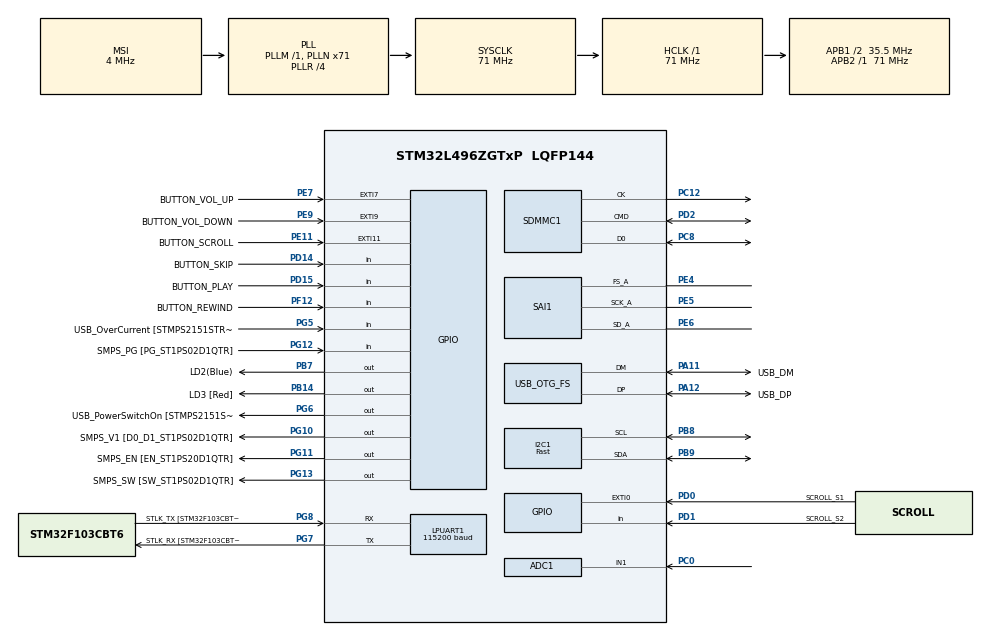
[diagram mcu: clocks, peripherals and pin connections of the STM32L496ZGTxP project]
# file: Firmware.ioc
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ADC1.Channel-0\#ChannelRegularConversion=ADC_CHANNEL_1
ADC1.NbrOfConversionFlag=1
ADC1.OffsetNumber-0\#ChannelRegularConversion=ADC_OFFSET_NONE
ADC1.Rank-0\#ChannelRegularConversion=1
ADC1.SamplingTime-0\#ChannelRegularConversion=ADC_SAMPLETIME_2CYCLES_5
ADC1.master=1
Dma.ADC1.3.Direction=DMA_PERIPH_TO_MEMORY
Dma.ADC1.3.Instance=DMA1_Channel1
Dma.ADC1.3.MemDataAlignment=DMA_MDATAALIGN_HALFWORD
Dma.ADC1.3.MemInc=DMA_MINC_ENABLE
Dma.ADC1.3.Mode=DMA_CIRCULAR
Dma.ADC1.3.PeriphDataAlignment=DMA_PDATAALIGN_HALFWORD
Dma.ADC1.3.PeriphInc=DMA_PINC_DISABLE
Dma.ADC1.3.Priority=DMA_PRIORITY_LOW
Dma.Request0=SDMMC1_RX
Dma.Request1=SDMMC1_TX
Dma.Request2=SAI1_A
Dma.Request3=ADC1
Dma.SAI1_A.2.Direction=DMA_MEMORY_TO_PERIPH
Dma.SAI1_A.2.Instance=DMA2_Channel1
Dma.SAI1_A.2.MemDataAlignment=DMA_MDATAALIGN_HALFWORD
Dma.SAI1_A.2.MemInc=DMA_MINC_ENABLE
Dma.SAI1_A.2.Mode=DMA_CIRCULAR
Dma.SAI1_A.2.PeriphDataAlignment=DMA_PDATAALIGN_HALFWORD
Dma.SAI1_A.2.PeriphInc=DMA_PINC_DISABLE
Dma.SAI1_A.2.Priority=DMA_PRIORITY_LOW
Dma.SDMMC1_RX.0.Direction=DMA_PERIPH_TO_MEMORY
Dma.SDMMC1_RX.0.Instance=DMA2_Channel4
Dma.SDMMC1_RX.0.MemDataAlignment=DMA_MDATAALIGN_WORD
Dma.SDMMC1_RX.0.MemInc=DMA_MINC_ENABLE
Dma.SDMMC1_RX.0.Mode=DMA_NORMAL
Dma.SDMMC1_RX.0.PeriphDataAlignment=DMA_PDATAALIGN_WORD
Dma.SDMMC1_RX.0.PeriphInc=DMA_PINC_DISABLE
Dma.SDMMC1_RX.0.Priority=DMA_PRIORITY_LOW
Dma.SDMMC1_TX.1.Direction=DMA_MEMORY_TO_PERIPH
Dma.SDMMC1_TX.1.Instance=DMA2_Channel5
Dma.SDMMC1_TX.1.MemDataAlignment=DMA_MDATAALIGN_WORD
Dma.SDMMC1_TX.1.MemInc=DMA_MINC_ENABLE
Dma.SDMMC1_TX.1.Mode=DMA_NORMAL
Dma.SDMMC1_TX.1.PeriphDataAlignment=DMA_PDATAALIGN_WORD
Dma.SDMMC1_TX.1.PeriphInc=DMA_PINC_DISABLE
Dma.SDMMC1_TX.1.Priority=DMA_PRIORITY_LOW
FREERTOS.Tasks01=defaultTask,24,128,StartDefaultTask,Default,NULL,Dynamic,NULL,NULL
I2C1.I2C_Speed_Mode=I2C_Fast
I2C1.Timing=0x00701137
LPUART1.BaudRate=115200
Mcu.Family=STM32L4
Mcu.Name=STM32L496ZGTxP
Mcu.Package=LQFP144
NVIC.ADC1_2_IRQn=true\:5\:0\:true\:false\:true\:true\:true\:true\:true
NVIC.DMA1_Channel1_IRQn=true\:5\:0\:false\:false\:true\:true\:false\:true\:true
NVIC.DMA2_Channel1_IRQn=true\:5\:0\:false\:false\:true\:true\:false\:true\:true
NVIC.DMA2_Channel4_IRQn=true\:5\:0\:false\:false\:true\:true\:false\:true\:true
NVIC.DMA2_Channel5_IRQn=true\:5\:0\:false\:false\:true\:true\:false\:true\:true
NVIC.EXTI0_IRQn=true\:5\:0\:true\:false\:true\:true\:true\:true\:true
NVIC.EXTI15_10_IRQn=true\:5\:0\:false\:false\:true\:true\:true\:true\:true
NVIC.EXTI9_5_IRQn=true\:5\:0\:true\:false\:true\:true\:true\:true\:true
NVIC.OTG_FS_IRQn=true\:5\:0\:false\:false\:true\:true\:true\:true\:true
NVIC.PriorityGroup=NVIC_PRIORITYGROUP_4
NVIC.SDMMC1_IRQn=true\:2\:0\:true\:false\:true\:true\:true\:true\:true
NVIC.TIM1_UP_TIM16_IRQn=true\:5\:0\:false\:false\:true\:true\:true\:true\:true
NVIC.TIM2_IRQn=true\:5\:0\:true\:false\:true\:true\:true\:true\:true
PA10.GPIO_Label=USB_ID
PA10.Signal=USB_OTG_FS_ID
PA11.GPIO_Label=USB_DM
PA11.Mode=Host_Only
PA11.Signal=USB_OTG_FS_DM
PA12.GPIO_Label=USB_DP
PA12.Mode=Host_Only
PA12.Signal=USB_OTG_FS_DP
PA13\ (JTMS/SWDIO).GPIO_Label=TMS
PA13\ (JTMS/SWDIO).Mode=Trace_Asynchronous_SW
PA13\ (JTMS/SWDIO).Signal=SYS_JTMS-SWDIO
PA14\ (JTCK/SWCLK).GPIO_Label=TCK
PA14\ (JTCK/SWCLK).Mode=Trace_Asynchronous_SW
PA14\ (JTCK/SWCLK).Signal=SYS_JTCK-SWCLK
PA8.GPIO_Label=USB_SOF [TP1]
PA8.Signal=USB_OTG_FS_SOF
PA9.GPIO_Label=USB_VBUS
PA9.Signal=USB_OTG_FS_VBUS
PB14.GPIO_Label=LD3 [Red]
PB14.Signal=GPIO_Output
PB3\ (JTDO/TRACESWO).GPIO_Label=SWO
PB3\ (JTDO/TRACESWO).Mode=Trace_Asynchronous_SW
PB3\ (JTDO/TRACESWO).Signal=SYS_JTDO-SWO
PB7.GPIO_Label=LD2(Blue)
PB7.Signal=GPIO_Output
PB8.Mode=I2C
PB8.Signal=I2C1_SCL
PB9.Mode=I2C
PB9.Signal=I2C1_SDA
PC0.Signal=ADCx_IN1
PC12.Mode=SD_1_bit
PC12.Signal=SDMMC1_CK
PC14-OSC32_IN\ (PC14).Mode=LSE-External-Oscillator
PC14-OSC32_IN\ (PC14).Signal=RCC_OSC32_IN
PC15-OSC32_OUT\ (PC15).Mode=LSE-External-Oscillator
PC15-OSC32_OUT\ (PC15).Signal=RCC_OSC32_OUT
PC8.Mode=SD_1_bit
PC8.Signal=SDMMC1_D0
PD0.GPIO_Label=SCROLL_S1
PD0.GPIO_ModeDefaultEXTI=GPIO_MODE_IT_RISING
PD0.Signal=GPXTI0
PD1.GPIO_Label=SCROLL_S2
PD1.GPIO_PuPd=GPIO_PULLUP
PD1.Signal=GPIO_Input
PD14.GPIO_Label=BUTTON_SKIP
PD14.GPIO_PuPd=GPIO_PULLDOWN
PD14.Signal=GPIO_Input
PD15.GPIO_Label=BUTTON_PLAY
PD15.GPIO_PuPd=GPIO_PULLDOWN
PD15.Signal=GPIO_Input
PD2.Mode=SD_1_bit
PD2.Signal=SDMMC1_CMD
PE11.GPIO_Label=BUTTON_SCROLL
PE11.GPIO_ModeDefaultEXTI=GPIO_MODE_IT_RISING_FALLING
PE11.GPIO_PuPd=GPIO_PULLDOWN
PE11.Signal=GPXTI11
PE4.Mode=SAI_A_Master
PE4.Signal=SAI1_FS_A
PE5.Mode=SAI_A_Master
PE5.Signal=SAI1_SCK_A
PE6.Mode=SAI_A_Master
PE6.Signal=SAI1_SD_A
PE7.GPIO_Label=BUTTON_VOL_UP
PE7.GPIO_PuPd=GPIO_PULLDOWN
PE7.Signal=GPXTI7
PE9.GPIO_Label=BUTTON_VOL_DOWN
PE9.GPIO_PuPd=GPIO_PULLDOWN
PE9.Signal=GPXTI9
PF12.GPIO_Label=BUTTON_REWIND
PF12.GPIO_PuPd=GPIO_PULLDOWN
PF12.Signal=GPIO_Input
PG10.GPIO_Label=SMPS_V1 [D0_D1_ST1PS02D1QTR]
PG10.Signal=GPIO_Output
PG11.GPIO_Label=SMPS_EN [EN_ST1PS20D1QTR]
PG11.Signal=GPIO_Output
PG12.GPIO_Label=SMPS_PG [PG_ST1PS02D1QTR]
PG12.Signal=GPIO_Input
PG13.GPIO_Label=SMPS_SW [SW_ST1PS02D1QTR]
PG13.Signal=GPIO_Output
PG5.GPIO_Label=USB_OverCurrent [STMPS2151STR_FAULT]
PG5.Signal=GPIO_Input
PG6.GPIO_Label=USB_PowerSwitchOn [STMPS2151STR_EN]
PG6.Signal=GPIO_Output
PG7.GPIO_Label=STLK_RX [STM32F103CBT6_PA3]
PG7.Mode=Asynchronous
PG7.Signal=LPUART1_TX
PG8.GPIO_Label=STLK_TX [STM32F103CBT6_PA2]
PG8.Mode=Asynchronous
PG8.Signal=LPUART1_RX
PH0-OSC_IN\ (PH0).GPIO_Label=MCO
PH0-OSC_IN\ (PH0).Signal=RCC_OSC_IN
PH1-OSC_OUT\ (PH1).Signal=RCC_OSC_OUT
ProjectManager.HeapSize=0x200
ProjectManager.StackSize=0x400
ProjectManager.TargetToolchain=CMake
RCC.48MHZClocksFreq_Value=24000000
RCC.ADCFreq_Value=48000000
RCC.AHBFreq_Value=71000000
RCC.APB1CLKDivider=RCC_HCLK_DIV2
RCC.APB1Freq_Value=35500000
RCC.APB1TimFreq_Value=71000000
RCC.APB2Freq_Value=71000000
RCC.APB2TimFreq_Value=71000000
RCC.CortexFreq_Value=71000000
RCC.HCLKFreq_Value=71000000
RCC.HSE_VALUE=8000000
RCC.HSI48_VALUE=48000000
RCC.HSI_VALUE=16000000
RCC.MSI_VALUE=4000000
RCC.PLLMUL=RCC_PLL_MUL9
RCC.PLLN=71
RCC.PLLR=RCC_PLLR_DIV4
RCC.PLLSAI1N=24
RCC.PLLSAI2N=48
RCC.PLLSAI2P=RCC_PLLP_DIV17
RCC.PRESCALERUSB=RCC_USBCLKSOURCE_PLL_DIV1_5
RCC.SAI1CLockSelection=RCC_SAI1CLKSOURCE_PLLSAI2
RCC.SYSCLKFreq_VALUE=71000000
RCC.SYSCLKSource=RCC_SYSCLKSOURCE_PLLCLK
RCC.SYSCLKSourceVirtual=RCC_SYSCLKSOURCE_PLLCLK
RCC.USBFreq_Value=48000000
RCC.VCOOutputFreq_Value=284000000
SAI1.AudioFrequency-SAI_A_Master=SAI_AUDIO_FREQUENCY_44K
SAI1.BasicProtocol-SAI_A_Master=SAI_I2S_STANDARD
SAI1.ErrorAudioFreq-SAI_A_Master=0.03 %
SAI1.InitProtocol-SAI_A_Master=Enable
SAI1.Instance-SAI_A_Master=SAI$Index_Block_A
SAI1.MClockEnable-SAI_A_Master=SAI_MASTERCLOCK_DISABLE
SAI1.RealAudioFreq-SAI_A_Master=44.117 KHz
SAI1.VirtualMode-SAI_A_Master=VM_MASTER
SAI1.VirtualProtocol-SAI_A_BASIC=VM_BASIC_PROTOCOL
SDMMC1.ClockDiv=16
SH.ADCx_IN1.0=ADC1_IN1,IN1-Single-Ended
TIM1.Period=65535
TIM1.Prescaler=14199
TIM2.Period=999
TIM2.Prescaler=14200
USB_HOST.BSP.number=1
USB_HOST.USBH_HandleTypeDef=hUsbHostFS
USB_HOST.VirtualModeFS=Audio
USB_HOST0.BSP.STBoard=false
USB_HOST0.BSP.api=UnknownBspDriver
USB_HOST0.BSP.instance=PG6
USB_HOST0.BSP.ip=GPIO
USB_HOST0.BSP.mode=Output
USB_HOST0.BSP.name=Drive_VBUS_FS
USB_HOST0.BSP.solution=PG6
USB_OTG_FS.VirtualMode=Host_Only
USB_OTG_FS.phy_itface=HCD_PHY_EMBEDDED
VP_CRC_VS_CRC.Mode=CRC_Activate
VP_FATFS_VS_SDIO.Mode=SDIO
VP_FREERTOS_VS_CMSIS_V2.Mode=CMSIS_V2
VP_SAI1_VP_$IpInstance_SAIA_SAI_BASIC.Mode=SAI_A_BASIC
VP_TIM1_VS_ClockSourceINT.Mode=Internal
VP_TIM2_VS_ClockSourceINT.Mode=Internal
VP_USB_HOST_VS_USB_HOST_AUDIO_FS.Mode=AUDIO_FS
board=NUCLEO-L496ZG-P

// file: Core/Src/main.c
/* USER CODE BEGIN Header */
/**
  ******************************************************************************
  * @file           : main.c
  * @brief          : Main program body
  ******************************************************************************
  * @attention
  *
  * Copyright (c) 2026 STMicroelectronics.
  * All rights reserved.
  *
  * This software is licensed under terms that can be found in the LICENSE file
  * in the root directory of this software component.
  * If no LICENSE file comes with this software, it is provided AS-IS.
  *
  ******************************************************************************
  */
/* USER CODE END Header */
#include "main.h"
#include "cmsis_os.h"
#include "fatfs.h"
#include "usb_host.h"

/* USER CODE BEGIN Includes */
#include "ssd1306.h"
#include "ssd1306_tests.h"
#include "ssd1306_fonts.h"
#include "display.h"
#include "audio_control.h"
#include "input.h"
#include "ff.h"
#include "music_player.h"

#include <stdint.h>
#include <stdio.h>
#include <string.h>
#include <stdbool.h>
/* USER CODE END Includes */

ADC_HandleTypeDef hadc1;
DMA_HandleTypeDef hdma_adc1;

CRC_HandleTypeDef hcrc;

I2C_HandleTypeDef hi2c1;

UART_HandleTypeDef hlpuart1;

SAI_HandleTypeDef hsai_BlockA1;
DMA_HandleTypeDef hdma_sai1_a;

SD_HandleTypeDef hsd1;
DMA_HandleTypeDef hdma_sdmmc1_rx;
DMA_HandleTypeDef hdma_sdmmc1_tx;

TIM_HandleTypeDef htim1;
TIM_HandleTypeDef htim2;

/* Definitions for defaultTask */
osThreadId_t defaultTaskHandle;
const osThreadAttr_t defaultTask_attributes = {
  .name = "defaultTask",
  .stack_size = 128 * 4,
  .priority = (osPriority_t) osPriorityNormal,
};
/* USER CODE BEGIN PV */
/*
  _____  _____  _______      __       _______ ______   __      __     _____  _____          ____  _      ______  _____
 |  __ \|  __ \|_   _\ \    / /   /\ |__   __|  ____|  \ \    / /\   |  __ \|_   _|   /\   |  _ \| |    |  ____|/ ____|
 | |__) | |__) | | |  \ \  / /   /  \   | |  | |__      \ \  / /  \  | |__) | | |    /  \  | |_) | |    | |__  | (___
 |  ___/|  _  /  | |   \ \/ /   / /\ \  | |  |  __|      \ \/ / /\ \ |  _  /  | |   / /\ \ |  _ <| |    |  __|  \___ \
 | |    | | \ \ _| |_   \  /   / ____ \ | |  | |____      \  / ____ \| | \ \ _| |_ / ____ \| |_) | |____| |____ ____) |
 |_|    |_|  \_\_____|   \/   /_/    \_\|_|  |______|      \/_/    \_\_|  \_\_____/_/    \_\____/|______|______|_____/

*/

// PV goes here #todo

/* USER CODE END PV */

void SystemClock_Config(void);
void PeriphCommonClock_Config(void);
static void MX_GPIO_Init(void);
static void MX_DMA_Init(void);
static void MX_LPUART1_UART_Init(void);
static void MX_TIM1_Init(void);
static void MX_I2C1_Init(void);
static void MX_SDMMC1_SD_Init(void);
static void MX_SAI1_Init(void);
static void MX_ADC1_Init(void);
static void MX_CRC_Init(void);
static void MX_TIM2_Init(void);
void StartDefaultTask(void *argument);

/* USER CODE BEGIN PFP */
static void AlarmInit(void);
static void DisplayInit(void);
static void AudioInit(void);
static void GuiInit(void);
/* USER CODE END PFP */

/* USER CODE BEGIN 0 */
/*
  _____  _____  _______      __       _______ ______   _    _  _____ ______ _____     _____  ____  _____  ______
 |  __ \|  __ \|_   _\ \    / /   /\ |__   __|  ____| | |  | |/ ____|  ____|  __ \   / ____|/ __ \|  __ \|  ____|
 | |__) | |__) | | |  \ \  / /   /  \   | |  | |__    | |  | | (___ | |__  | |__) | | |    | |  | | |  | | |__
 |  ___/|  _  /  | |   \ \/ /   / /\ \  | |  |  __|   | |  | |\___ \|  __| |  _  /  | |    | |  | | |  | |  __|
 | |    | | \ \ _| |_   \  /   / ____ \ | |  | |____  | |__| |____) | |____| | \ \  | |____| |__| | |__| | |____
 |_|    |_|  \_\_____|   \/   /_/    \_\|_|  |______|  \____/|_____/|______|_|  \_\  \_____|\____/|_____/|______|

*/

static void AlarmInit(void) {
}

static void DisplayInit(void) {
  ssd1306_Init();
}

static void AudioInit() {

}

static void

void HAL_TIM_PeriodElapsedCallback(TIM_HandleTypeDef *htim) {
  if (htim->Instance == TIM2) {
      time_elapsed++;
      if ((time_elapsed / 60) >= timer_length) {
          HAL_TIM_Base_Stop_IT(&htim2);
          currentState = STATE_TIMER_DONE;
          refresh_needed = 1;
      }
  }
}
/* USER CODE END 0 */

int main(void)
{

  /* MCU Configuration--------------------------------------------------------*/

  /* Reset of all peripherals, Initializes the Flash interface and the Systick. */
  HAL_Init();

  /* Configure the system clock */
  SystemClock_Config();

  /* Configure the peripherals common clocks */
  PeriphCommonClock_Config();

  /* Initialize all configured peripherals */
  MX_GPIO_Init();
  MX_DMA_Init();
  MX_LPUART1_UART_Init();
  MX_TIM1_Init();
  MX_I2C1_Init();
  MX_SDMMC1_SD_Init();
  MX_FATFS_Init();
  MX_SAI1_Init();
  MX_ADC1_Init();
  MX_CRC_Init();
  MX_TIM2_Init();
  /* USER CODE BEGIN 2 */
/*
  _____ _   _ _____ _______ _____          _      _____  _____         _______  _____  ____  _   _  _____
 |_   _| \ | |_   _|__   __|_   _|   /\   | |    |_   _|/ ____|  / \  |__    __|_   _|/ __ \| \ | |/ ____|
   | | |  \| | | |    | |    | |    /  \  | |      | | | (___   /   \    |  |    | | | |  | |  \| | (___
   | | | . ` | | |    | |    | |   / /\ \ | |      | |  \___ \ /  /\ \   |  |    | | | |  | | . ` |\___ \
  _| |_| |\  |_| |_   | |   _| |_ / ____ \| |____ _| |_ ____) /  ____ \  |  |   _| |_| |__| | |\  |____) |
 |_____|_| \_|_____|  |_|  |_____/_/    \_\______|_____|_____/_/     \ \_|__|  |_____|\____/|_| \_|_____/

*/

// Initialisations

  Display_Init();

  /* USER CODE END 2 */

  /* Init scheduler */
  osKernelInitialize();

  /* Create the thread(s) */
  /* creation of defaultTask */
  defaultTaskHandle = osThreadNew(StartDefaultTask, NULL, &defaultTask_attributes);

  /* Start scheduler */
  osKernelStart();

  /* We should never get here as control is now taken by the scheduler */

  /* Infinite loop */
  /* USER CODE BEGIN WHILE */
  /*
 __          _   _    _ _____ _      ______   _      ____   ____  _____
 \ \        / / | |  | |_   _| |    |  ____| | |    / __ \ / __ \|  __ \
  \ \  /\  / /  | |__| | | | | |    | |__    | |   | |  | | |  | | |__) |
   \ \/  \/ /   |  __  | | | | |    |  __|   | |   | |  | | |  | |  ___/
    \  /\  /    | |  | |_| |_| |____| |____  | |___| |__| | |__| | |
     \/  \/     |_|  |_|_____|______|______| |______\____/ \____/|_|

*/
  while (1) {
    /* USER CODE - temporary diagnostic */

    // Check_Scroll();
    // MusicPlayer_Process();
    // 3. DEBUG: Slow down the screen updates significantly
    // static uint32_t last_print = 0;
    // if (HAL_GetTick() - last_print > 500) { // Update twice a second, not constantly
    //     last_print = HAL_GetTick();
    //     char dbg[32];
    //     If ping_missed or pong_missed is climbing, SDMMC is too slow
    //     sprintf(dbg, "P:%lu M:%lu", ping_count, ping_missed);
    //     DrawTextToScreen(dbg);
    // }

    /* Debugging Functions */
    //TestInputs();
    //TestInputsAndDisplay();
    //TestSoundandDisplay();
    //Test_Scroll();
    //Test_Scroll_Key_Hold();
    //if (input_register & (1 << SCROLL_KEY_BIT)) {LD2_ON;} else {LD2_OFF;}

    /*Controller - View Inputs and change variables accordingly*/

    // if (g_vol_down_pressed) {
    // g_vol_down_pressed = false;
    // ButtonEvent event = Input_Update(&vol_down_btn);
    // if (event == BUTTON_EVENT_SHORT_PRESS)
    //     AudioControl_AdjustVolume(-5);
    // else if (event == BUTTON_EVENT_LONG_PRESS)
    //     AudioControl_AdjustVolume(-20);
    // }

    // Check_Music_Buttons();
    // Check_Scroll_Key_Hold();
    // UI_State_Machine();
    // timerCheck();
    /* Draw to Screen */
    /* USER CODE END WHILE */

  }
}

void SystemClock_Config(void)
{
  RCC_OscInitTypeDef RCC_OscInitStruct = {0};
  RCC_ClkInitTypeDef RCC_ClkInitStruct = {0};

  /** Configure the main internal regulator output voltage
  */
  if (HAL_PWREx_ControlVoltageScaling(PWR_REGULATOR_VOLTAGE_SCALE1) != HAL_OK)
  {
    Error_Handler();
  }

  /** Configure LSE Drive Capability
  */
  HAL_PWR_EnableBkUpAccess();
  __HAL_RCC_LSEDRIVE_CONFIG(RCC_LSEDRIVE_LOW);

  /** Initializes the RCC Oscillators according to the specified parameters
  * in the RCC_OscInitTypeDef structure.
  */
  RCC_OscInitStruct.OscillatorType = RCC_OSCILLATORTYPE_LSE|RCC_OSCILLATORTYPE_MSI;
  RCC_OscInitStruct.LSEState = RCC_LSE_ON;
  RCC_OscInitStruct.MSIState = RCC_MSI_ON;
  RCC_OscInitStruct.MSICalibrationValue = 0;
  RCC_OscInitStruct.MSIClockRange = RCC_MSIRANGE_6;
  RCC_OscInitStruct.PLL.PLLState = RCC_PLL_ON;
  RCC_OscInitStruct.PLL.PLLSource = RCC_PLLSOURCE_MSI;
  RCC_OscInitStruct.PLL.PLLM = 1;
  RCC_OscInitStruct.PLL.PLLN = 71;
  RCC_OscInitStruct.PLL.PLLP = RCC_PLLP_DIV2;
  RCC_OscInitStruct.PLL.PLLQ = RCC_PLLQ_DIV2;
  RCC_OscInitStruct.PLL.PLLR = RCC_PLLR_DIV4;
  if (HAL_RCC_OscConfig(&RCC_OscInitStruct) != HAL_OK)
  {
    Error_Handler();
  }

  /** Initializes the CPU, AHB and APB buses clocks
  */
  RCC_ClkInitStruct.ClockType = RCC_CLOCKTYPE_HCLK|RCC_CLOCKTYPE_SYSCLK
                              |RCC_CLOCKTYPE_PCLK1|RCC_CLOCKTYPE_PCLK2;
  RCC_ClkInitStruct.SYSCLKSource = RCC_SYSCLKSOURCE_PLLCLK;
  RCC_ClkInitStruct.AHBCLKDivider = RCC_SYSCLK_DIV1;
  RCC_ClkInitStruct.APB1CLKDivider = RCC_HCLK_DIV2;
  RCC_ClkInitStruct.APB2CLKDivider = RCC_HCLK_DIV1;

  if (HAL_RCC_ClockConfig(&RCC_ClkInitStruct, FLASH_LATENCY_4) != HAL_OK)
  {
    Error_Handler();
  }

  /** Enable MSI Auto calibration
  */
  HAL_RCCEx_EnableMSIPLLMode();
}

void PeriphCommonClock_Config(void)
{
  RCC_PeriphCLKInitTypeDef PeriphClkInit = {0};

  /** Initializes the peripherals clock
  */
  PeriphClkInit.PeriphClockSelection = RCC_PERIPHCLK_USB|RCC_PERIPHCLK_SDMMC1
                              |RCC_PERIPHCLK_ADC;
  PeriphClkInit.AdcClockSelection = RCC_ADCCLKSOURCE_PLLSAI1;
  PeriphClkInit.UsbClockSelection = RCC_USBCLKSOURCE_PLLSAI1;
  PeriphClkInit.Sdmmc1ClockSelection = RCC_SDMMC1CLKSOURCE_PLLSAI1;
  PeriphClkInit.PLLSAI1.PLLSAI1Source = RCC_PLLSOURCE_MSI;
  PeriphClkInit.PLLSAI1.PLLSAI1M = 1;
  PeriphClkInit.PLLSAI1.PLLSAI1N = 24;
  PeriphClkInit.PLLSAI1.PLLSAI1P = RCC_PLLP_DIV2;
  PeriphClkInit.PLLSAI1.PLLSAI1Q = RCC_PLLQ_DIV2;
  PeriphClkInit.PLLSAI1.PLLSAI1R = RCC_PLLR_DIV2;
  PeriphClkInit.PLLSAI1.PLLSAI1ClockOut = RCC_PLLSAI1_48M2CLK|RCC_PLLSAI1_ADC1CLK;
  if (HAL_RCCEx_PeriphCLKConfig(&PeriphClkInit) != HAL_OK)
  {
    Error_Handler();
  }
}

static void MX_ADC1_Init(void)
{

  ADC_MultiModeTypeDef multimode = {0};
  ADC_ChannelConfTypeDef sConfig = {0};

  /** Common config
  */
  hadc1.Instance = ADC1;
  hadc1.Init.ClockPrescaler = ADC_CLOCK_ASYNC_DIV1;
  hadc1.Init.Resolution = ADC_RESOLUTION_12B;
  hadc1.Init.DataAlign = ADC_DATAALIGN_RIGHT;
  hadc1.Init.ScanConvMode = ADC_SCAN_DISABLE;
  hadc1.Init.EOCSelection = ADC_EOC_SINGLE_CONV;
  hadc1.Init.LowPowerAutoWait = DISABLE;
  hadc1.Init.ContinuousConvMode = DISABLE;
  hadc1.Init.NbrOfConversion = 1;
  hadc1.Init.DiscontinuousConvMode = DISABLE;
  hadc1.Init.ExternalTrigConv = ADC_SOFTWARE_START;
  hadc1.Init.ExternalTrigConvEdge = ADC_EXTERNALTRIGCONVEDGE_NONE;
  hadc1.Init.DMAContinuousRequests = DISABLE;
  hadc1.Init.Overrun = ADC_OVR_DATA_PRESERVED;
  hadc1.Init.OversamplingMode = DISABLE;
  if (HAL_ADC_Init(&hadc1) != HAL_OK)
  {
    Error_Handler();
  }

  /** Configure the ADC multi-mode
  */
  multimode.Mode = ADC_MODE_INDEPENDENT;
  if (HAL_ADCEx_MultiModeConfigChannel(&hadc1, &multimode) != HAL_OK)
  {
    Error_Handler();
  }

  /** Configure Regular Channel
  */
  sConfig.Channel = ADC_CHANNEL_1;
  sConfig.Rank = ADC_REGULAR_RANK_1;
  sConfig.SamplingTime = ADC_SAMPLETIME_2CYCLES_5;
  sConfig.SingleDiff = ADC_SINGLE_ENDED;
  sConfig.OffsetNumber = ADC_OFFSET_NONE;
  sConfig.Offset = 0;
  if (HAL_ADC_ConfigChannel(&hadc1, &sConfig) != HAL_OK)
  {
    Error_Handler();
  }

}

static void MX_CRC_Init(void)
{

  hcrc.Instance = CRC;
  hcrc.Init.DefaultPolynomialUse = DEFAULT_POLYNOMIAL_ENABLE;
  hcrc.Init.DefaultInitValueUse = DEFAULT_INIT_VALUE_ENABLE;
  hcrc.Init.InputDataInversionMode = CRC_INPUTDATA_INVERSION_NONE;
  hcrc.Init.OutputDataInversionMode = CRC_OUTPUTDATA_INVERSION_DISABLE;
  hcrc.InputDataFormat = CRC_INPUTDATA_FORMAT_BYTES;
  if (HAL_CRC_Init(&hcrc) != HAL_OK)
  {
    Error_Handler();
  }

}

static void MX_I2C1_Init(void)
{

  hi2c1.Instance = I2C1;
  hi2c1.Init.Timing = 0x00701137;
  hi2c1.Init.OwnAddress1 = 0;
  hi2c1.Init.AddressingMode = I2C_ADDRESSINGMODE_7BIT;
  hi2c1.Init.DualAddressMode = I2C_DUALADDRESS_DISABLE;
  hi2c1.Init.OwnAddress2 = 0;
  hi2c1.Init.OwnAddress2Masks = I2C_OA2_NOMASK;
  hi2c1.Init.GeneralCallMode = I2C_GENERALCALL_DISABLE;
  hi2c1.Init.NoStretchMode = I2C_NOSTRETCH_DISABLE;
  if (HAL_I2C_Init(&hi2c1) != HAL_OK)
  {
    Error_Handler();
  }

  /** Configure Analogue filter
  */
  if (HAL_I2CEx_ConfigAnalogFilter(&hi2c1, I2C_ANALOGFILTER_ENABLE) != HAL_OK)
  {
    Error_Handler();
  }

  /** Configure Digital filter
  */
  if (HAL_I2CEx_ConfigDigitalFilter(&hi2c1, 0) != HAL_OK)
  {
    Error_Handler();
  }

}

static void MX_LPUART1_UART_Init(void)
{

  hlpuart1.Instance = LPUART1;
  hlpuart1.Init.BaudRate = 115200;
  hlpuart1.Init.WordLength = UART_WORDLENGTH_7B;
  hlpuart1.Init.StopBits = UART_STOPBITS_1;
  hlpuart1.Init.Parity = UART_PARITY_NONE;
  hlpuart1.Init.Mode = UART_MODE_TX_RX;
  hlpuart1.Init.HwFlowCtl = UART_HWCONTROL_NONE;
  hlpuart1.Init.OneBitSampling = UART_ONE_BIT_SAMPLE_DISABLE;
  hlpuart1.AdvancedInit.AdvFeatureInit = UART_ADVFEATURE_NO_INIT;
  if (HAL_UART_Init(&hlpuart1) != HAL_OK)
  {
    Error_Handler();
  }

}

static void MX_SAI1_Init(void)
{

  hsai_BlockA1.Instance = SAI1_Block_A;
  hsai_BlockA1.Init.AudioMode = SAI_MODEMASTER_TX;
  hsai_BlockA1.Init.Synchro = SAI_ASYNCHRONOUS;
  hsai_BlockA1.Init.OutputDrive = SAI_OUTPUTDRIVE_DISABLE;
  hsai_BlockA1.Init.NoDivider = SAI_MASTERDIVIDER_ENABLE;
  hsai_BlockA1.Init.FIFOThreshold = SAI_FIFOTHRESHOLD_EMPTY;
  hsai_BlockA1.Init.AudioFrequency = SAI_AUDIO_FREQUENCY_44K;
  hsai_BlockA1.Init.SynchroExt = SAI_SYNCEXT_DISABLE;
  hsai_BlockA1.Init.MonoStereoMode = SAI_STEREOMODE;
  hsai_BlockA1.Init.CompandingMode = SAI_NOCOMPANDING;
  hsai_BlockA1.Init.TriState = SAI_OUTPUT_NOTRELEASED;
  if (HAL_SAI_InitProtocol(&hsai_BlockA1, SAI_I2S_STANDARD, SAI_PROTOCOL_DATASIZE_16BIT, 2) != HAL_OK)
  {
    Error_Handler();
  }
  /* USER CODE BEGIN SAI1_Init 2 */
  hsai_BlockA1.SlotInit.FirstBitOffset = 0;
hsai_BlockA1.SlotInit.SlotSize = SAI_SLOTSIZE_16B; // Force 32-bit slots
hsai_BlockA1.SlotInit.SlotNumber = 2;
hsai_BlockA1.SlotInit.SlotActive = SAI_SLOTACTIVE_0 | SAI_SLOTACTIVE_1;
HAL_SAI_Init(&hsai_BlockA1);
  /* USER CODE END SAI1_Init 2 */

}

static void MX_SDMMC1_SD_Init(void)
{

  hsd1.Instance = SDMMC1;
  hsd1.Init.ClockEdge = SDMMC_CLOCK_EDGE_RISING;
  hsd1.Init.ClockBypass = SDMMC_CLOCK_BYPASS_DISABLE;
  hsd1.Init.ClockPowerSave = SDMMC_CLOCK_POWER_SAVE_DISABLE;
  hsd1.Init.BusWide = SDMMC_BUS_WIDE_1B;
  hsd1.Init.HardwareFlowControl = SDMMC_HARDWARE_FLOW_CONTROL_DISABLE;
  hsd1.Init.ClockDiv = 16;

}

static void MX_TIM1_Init(void)
{

  TIM_ClockConfigTypeDef sClockSourceConfig = {0};
  TIM_MasterConfigTypeDef sMasterConfig = {0};

  htim1.Instance = TIM1;
  htim1.Init.Prescaler = 14199;
  htim1.Init.CounterMode = TIM_COUNTERMODE_UP;
  htim1.Init.Period = 65535;
  htim1.Init.ClockDivision = TIM_CLOCKDIVISION_DIV1;
  htim1.Init.RepetitionCounter = 0;
  htim1.Init.AutoReloadPreload = TIM_AUTORELOAD_PRELOAD_DISABLE;
  if (HAL_TIM_Base_Init(&htim1) != HAL_OK)
  {
    Error_Handler();
  }
  sClockSourceConfig.ClockSource = TIM_CLOCKSOURCE_INTERNAL;
  if (HAL_TIM_ConfigClockSource(&htim1, &sClockSourceConfig) != HAL_OK)
  {
    Error_Handler();
  }
  sMasterConfig.MasterOutputTrigger = TIM_TRGO_RESET;
  sMasterConfig.MasterOutputTrigger2 = TIM_TRGO2_RESET;
  sMasterConfig.MasterSlaveMode = TIM_MASTERSLAVEMODE_DISABLE;
  if (HAL_TIMEx_MasterConfigSynchronization(&htim1, &sMasterConfig) != HAL_OK)
  {
    Error_Handler();
  }

}

static void MX_TIM2_Init(void)
{

  TIM_ClockConfigTypeDef sClockSourceConfig = {0};
  TIM_MasterConfigTypeDef sMasterConfig = {0};

  htim2.Instance = TIM2;
  htim2.Init.Prescaler = 14200;
  htim2.Init.CounterMode = TIM_COUNTERMODE_UP;
  htim2.Init.Period = 999;
  htim2.Init.ClockDivision = TIM_CLOCKDIVISION_DIV1;
  htim2.Init.AutoReloadPreload = TIM_AUTORELOAD_PRELOAD_DISABLE;
  if (HAL_TIM_Base_Init(&htim2) != HAL_OK)
  {
    Error_Handler();
  }
  sClockSourceConfig.ClockSource = TIM_CLOCKSOURCE_INTERNAL;
  if (HAL_TIM_ConfigClockSource(&htim2, &sClockSourceConfig) != HAL_OK)
  {
    Error_Handler();
  }
  sMasterConfig.MasterOutputTrigger = TIM_TRGO_RESET;
  sMasterConfig.MasterSlaveMode = TIM_MASTERSLAVEMODE_DISABLE;
  if (HAL_TIMEx_MasterConfigSynchronization(&htim2, &sMasterConfig) != HAL_OK)
  {
    Error_Handler();
  }

}

static void MX_DMA_Init(void)
{

  /* DMA controller clock enable */
  __HAL_RCC_DMA2_CLK_ENABLE();
  __HAL_RCC_DMA1_CLK_ENABLE();

  /* DMA interrupt init */
  /* DMA1_Channel1_IRQn interrupt configuration */
  HAL_NVIC_SetPriority(DMA1_Channel1_IRQn, 5, 0);
  HAL_NVIC_EnableIRQ(DMA1_Channel1_IRQn);
  /* DMA2_Channel1_IRQn interrupt configuration */
  HAL_NVIC_SetPriority(DMA2_Channel1_IRQn, 5, 0);
  HAL_NVIC_EnableIRQ(DMA2_Channel1_IRQn);
  /* DMA2_Channel4_IRQn interrupt configuration */
  HAL_NVIC_SetPriority(DMA2_Channel4_IRQn, 5, 0);
  HAL_NVIC_EnableIRQ(DMA2_Channel4_IRQn);
  /* DMA2_Channel5_IRQn interrupt configuration */
  HAL_NVIC_SetPriority(DMA2_Channel5_IRQn, 5, 0);
  HAL_NVIC_EnableIRQ(DMA2_Channel5_IRQn);

}

static void MX_GPIO_Init(void)
{
  GPIO_InitTypeDef GPIO_InitStruct = {0};

  /* GPIO Ports Clock Enable */
  __HAL_RCC_GPIOE_CLK_ENABLE();
  __HAL_RCC_GPIOC_CLK_ENABLE();
  __HAL_RCC_GPIOH_CLK_ENABLE();
  __HAL_RCC_GPIOF_CLK_ENABLE();
  __HAL_RCC_GPIOB_CLK_ENABLE();
  __HAL_RCC_GPIOD_CLK_ENABLE();
  __HAL_RCC_GPIOG_CLK_ENABLE();
  HAL_PWREx_EnableVddIO2();
  __HAL_RCC_GPIOA_CLK_ENABLE();

  /*Configure GPIO pin Output Level */
  HAL_GPIO_WritePin(GPIOB, LD3_Pin|LD2_Pin, GPIO_PIN_RESET);

  /*Configure GPIO pin Output Level */
  HAL_GPIO_WritePin(GPIOG, USB_PowerSwitchOn_Pin|SMPS_V1_Pin|SMPS_EN_Pin|SMPS_SW_Pin, GPIO_PIN_RESET);

  /*Configure GPIO pin : BUTTON_REWIND_Pin */
  GPIO_InitStruct.Pin = BUTTON_REWIND_Pin;
  GPIO_InitStruct.Mode = GPIO_MODE_INPUT;
  GPIO_InitStruct.Pull = GPIO_PULLDOWN;
  HAL_GPIO_Init(BUTTON_REWIND_GPIO_Port, &GPIO_InitStruct);

  /*Configure GPIO pins : BUTTON_VOL_UP_Pin BUTTON_VOL_DOWN_Pin */
  GPIO_InitStruct.Pin = BUTTON_VOL_UP_Pin|BUTTON_VOL_DOWN_Pin;
  GPIO_InitStruct.Mode = GPIO_MODE_IT_RISING;
  GPIO_InitStruct.Pull = GPIO_PULLDOWN;
  HAL_GPIO_Init(GPIOE, &GPIO_InitStruct);

  /*Configure GPIO pin : BUTTON_SCROLL_Pin */
  GPIO_InitStruct.Pin = BUTTON_SCROLL_Pin;
  GPIO_InitStruct.Mode = GPIO_MODE_IT_RISING_FALLING;
  GPIO_InitStruct.Pull = GPIO_PULLDOWN;
  HAL_GPIO_Init(BUTTON_SCROLL_GPIO_Port, &GPIO_InitStruct);

  /*Configure GPIO pins : LD3_Pin LD2_Pin */
  GPIO_InitStruct.Pin = LD3_Pin|LD2_Pin;
  GPIO_InitStruct.Mode = GPIO_MODE_OUTPUT_PP;
  GPIO_InitStruct.Pull = GPIO_NOPULL;
  GPIO_InitStruct.Speed = GPIO_SPEED_FREQ_LOW;
  HAL_GPIO_Init(GPIOB, &GPIO_InitStruct);

  /*Configure GPIO pins : BUTTON_SKIP_Pin BUTTON_PLAY_Pin */
  GPIO_InitStruct.Pin = BUTTON_SKIP_Pin|BUTTON_PLAY_Pin;
  GPIO_InitStruct.Mode = GPIO_MODE_INPUT;
  GPIO_InitStruct.Pull = GPIO_PULLDOWN;
  HAL_GPIO_Init(GPIOD, &GPIO_InitStruct);

  /*Configure GPIO pins : USB_OverCurrent_Pin SMPS_PG_Pin */
  GPIO_InitStruct.Pin = USB_OverCurrent_Pin|SMPS_PG_Pin;
  GPIO_InitStruct.Mode = GPIO_MODE_INPUT;
  GPIO_InitStruct.Pull = GPIO_NOPULL;
  HAL_GPIO_Init(GPIOG, &GPIO_InitStruct);

  /*Configure GPIO pins : USB_PowerSwitchOn_Pin SMPS_V1_Pin SMPS_EN_Pin SMPS_SW_Pin */
  GPIO_InitStruct.Pin = USB_PowerSwitchOn_Pin|SMPS_V1_Pin|SMPS_EN_Pin|SMPS_SW_Pin;
  GPIO_InitStruct.Mode = GPIO_MODE_OUTPUT_PP;
  GPIO_InitStruct.Pull = GPIO_NOPULL;
  GPIO_InitStruct.Speed = GPIO_SPEED_FREQ_LOW;
  HAL_GPIO_Init(GPIOG, &GPIO_InitStruct);

  /*Configure GPIO pin : SCROLL_S1_Pin */
  GPIO_InitStruct.Pin = SCROLL_S1_Pin;
  GPIO_InitStruct.Mode = GPIO_MODE_IT_RISING;
  GPIO_InitStruct.Pull = GPIO_NOPULL;
  HAL_GPIO_Init(SCROLL_S1_GPIO_Port, &GPIO_InitStruct);

  /*Configure GPIO pin : SCROLL_S2_Pin */
  GPIO_InitStruct.Pin = SCROLL_S2_Pin;
  GPIO_InitStruct.Mode = GPIO_MODE_INPUT;
  GPIO_InitStruct.Pull = GPIO_PULLUP;
  HAL_GPIO_Init(SCROLL_S2_GPIO_Port, &GPIO_InitStruct);

  /* EXTI interrupt init*/
  HAL_NVIC_SetPriority(EXTI0_IRQn, 5, 0);
  HAL_NVIC_EnableIRQ(EXTI0_IRQn);

  HAL_NVIC_SetPriority(EXTI9_5_IRQn, 5, 0);
  HAL_NVIC_EnableIRQ(EXTI9_5_IRQn);

  HAL_NVIC_SetPriority(EXTI15_10_IRQn, 5, 0);
  HAL_NVIC_EnableIRQ(EXTI15_10_IRQn);

}

/* USER CODE BEGIN 4 */

void HAL_SAI_ErrorCallback(SAI_HandleTypeDef *hsai) {
    LD3_ON; // If this lights, DMA is faulting
}

// void HAL_SAI_TxHalfCpltCallback(SAI_HandleTypeDef *hsai) {
//   if (hsai->Instance == SAI1_Block_A) {
//   MusicPlayer_SAI_HalfCpltCallback();
//   }
//     if (s_fill_ping) ping_missed++;  // flag wasn't cleared yet = missed!
// s_fill_ping = 1;
// ping_count++;
// }

// void HAL_SAI_TxCpltCallback(SAI_HandleTypeDef *hsai) {
//       if (hsai->Instance == SAI1_Block_A) {MusicPlayer_SAI_CpltCallback();}
//     if (s_fill_pong) pong_missed++;  // flag wasn't cleared yet = missed!
// s_fill_pong = 1;
// pong_count++;
// }

// This handles the "Ping" (First Half)
void HAL_SAI_TxHalfCpltCallback(SAI_HandleTypeDef *hsai) {
    UINT br;
    // Fill the first half of the buffer (index 0 to 4095)
    // Size is (AUDIO_BUF_SIZE / 2) * 2 bytes because each sample is 16-bit
    f_read(&MyFile, &audio_buffer[0], AUDIO_BUF_SIZE, &br);

    if (br < AUDIO_BUF_SIZE) {
        // End of file reached: Close or loop
        f_lseek(&MyFile, 44);
    }
}

// This handles the "Pong" (Second Half)
void HAL_SAI_TxCpltCallback(SAI_HandleTypeDef *hsai) {
    UINT br;
    // Fill the second half of the buffer (index 4096 to 8191)
    f_read(&MyFile, &audio_buffer[AUDIO_BUF_SIZE / 2], AUDIO_BUF_SIZE, &br);

    if (br < AUDIO_BUF_SIZE) {
        // End of file reached: Close or loop
        f_lseek(&MyFile, 44);
    }
}

void HAL_GPIO_EXTI_Callback(uint16_t GPIO_Pin)
{
  if (GPIO_Pin == SCROLL_S1_Pin) {
    scroll_register |= (1 << SCROLL_FLAG_BIT);
    scroll_register |= (HAL_GPIO_ReadPin(SCROLL_S2_GPIO_Port, SCROLL_S2_Pin)) ? (1 << ANTICLOCKWISE_SCROLL_BIT) : (1 << CLOCKWISE_SCROLL_BIT);
  }
  if (GPIO_Pin == BUTTON_VOL_UP_Pin) {
    g_vol_up_pressed = true;
  }
  if (GPIO_Pin == BUTTON_VOL_DOWN_Pin) {
      g_vol_down_pressed = true;
  }

  if (GPIO_Pin == BUTTON_SCROLL_Pin) {
    if (HAL_GPIO_ReadPin(BUTTON_SCROLL_GPIO_Port, BUTTON_SCROLL_Pin) == GPIO_PIN_SET) {
        input_register |= (1 << SCROLL_KEY_BIT);
        __HAL_TIM_SET_COUNTER(&htim1, 0);
        HAL_TIM_Base_Start(&htim1);
        scroll_key_held = true;
    } else {
        input_register &= ~(1 << SCROLL_KEY_BIT);
        scroll_key_release_pending = true;  // flag the release
    }
  }
}
/* USER CODE END 4 */

void StartDefaultTask(void *argument)
{
  /* init code for USB_HOST */
  MX_USB_HOST_Init();
  for(;;)
  {
    osDelay(1);
  }
}

void Error_Handler(void)
{
  __disable_irq();
  while (1)
  {
  }
}
